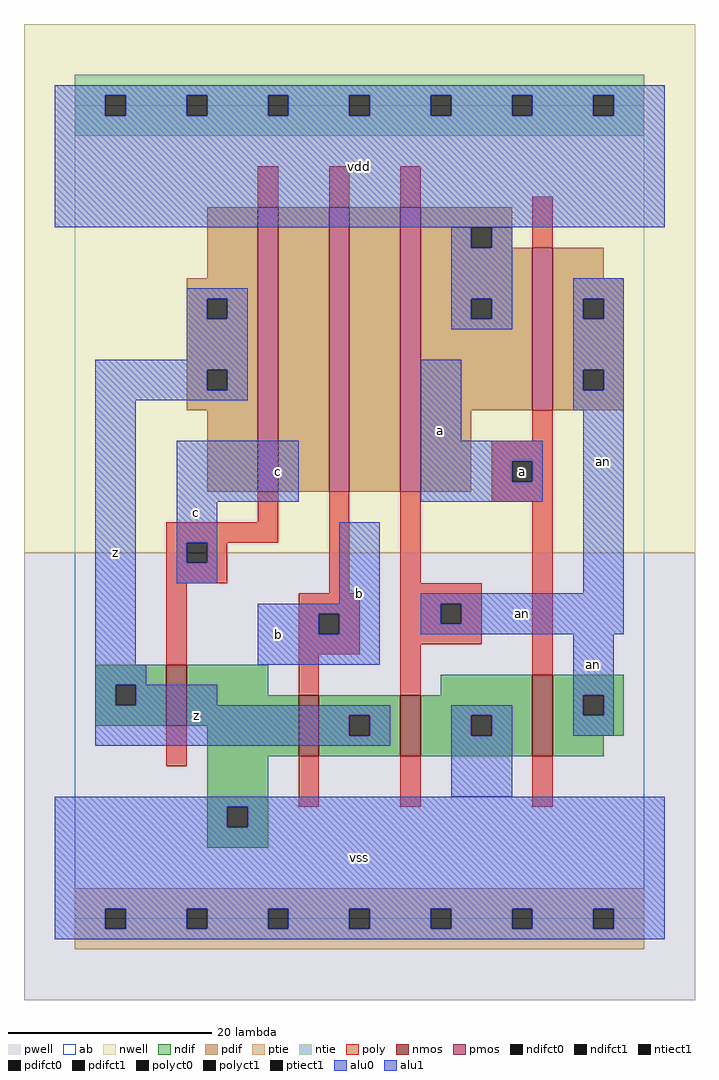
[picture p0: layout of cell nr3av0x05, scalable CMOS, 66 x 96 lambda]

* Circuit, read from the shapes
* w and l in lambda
.subckt nr3av0x05 a an b c vdd vss z
M1 vss c z vss nfet w=6 l=2
M2 z b vss vss nfet w=6 l=2
M3 vss an z vss nfet w=6 l=2
M4 an a vss vss nfet w=8 l=2
M5 n1 c z vdd pfet w=28 l=2
M6 n2 b n1 vdd pfet w=28 l=2
M7 vdd an n2 vdd pfet w=28 l=2
M8 an a vdd vdd pfet w=16 l=2
.ends

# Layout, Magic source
magic
tech scmos
<< ab >>
rect 0 0 56 80
<< nwell >>
rect -5 36 61 88
<< pwell >>
rect -5 -8 61 36
<< poly >>
rect 18 70 20 74
rect 25 70 27 74
rect 32 70 34 74
rect 45 66 47 71
rect 45 47 47 50
rect 41 45 47 47
rect 41 43 43 45
rect 45 43 47 45
rect 18 39 20 42
rect 9 37 20 39
rect 9 35 11 37
rect 13 35 15 37
rect 9 33 15 35
rect 9 25 11 33
rect 25 32 27 42
rect 32 33 34 42
rect 41 41 47 43
rect 22 30 28 32
rect 22 28 24 30
rect 26 28 28 30
rect 22 26 28 28
rect 32 31 40 33
rect 32 29 36 31
rect 38 29 40 31
rect 32 27 40 29
rect 22 22 24 26
rect 32 22 34 27
rect 45 24 47 41
rect 9 15 11 19
rect 22 11 24 16
rect 32 11 34 16
rect 45 11 47 16
<< ndif >>
rect 2 23 9 25
rect 2 21 4 23
rect 6 21 9 23
rect 2 19 9 21
rect 11 22 19 25
rect 36 22 45 24
rect 11 19 22 22
rect 13 16 22 19
rect 24 20 32 22
rect 24 18 27 20
rect 29 18 32 20
rect 24 16 32 18
rect 34 20 45 22
rect 34 18 39 20
rect 41 18 45 20
rect 34 16 45 18
rect 47 22 54 24
rect 47 20 50 22
rect 52 20 54 22
rect 47 18 54 20
rect 47 16 52 18
rect 13 11 19 16
rect 13 9 15 11
rect 17 9 19 11
rect 13 7 19 9
<< pdif >>
rect 13 63 18 70
rect 11 61 18 63
rect 11 59 13 61
rect 15 59 18 61
rect 11 54 18 59
rect 11 52 13 54
rect 15 52 18 54
rect 11 50 18 52
rect 13 42 18 50
rect 20 42 25 70
rect 27 42 32 70
rect 34 68 43 70
rect 34 66 39 68
rect 41 66 43 68
rect 34 61 45 66
rect 34 59 39 61
rect 41 59 45 61
rect 34 50 45 59
rect 47 63 52 66
rect 47 61 54 63
rect 47 59 50 61
rect 52 59 54 61
rect 47 54 54 59
rect 47 52 50 54
rect 52 52 54 54
rect 47 50 54 52
rect 34 42 39 50
<< alu1 >>
rect -2 81 58 82
rect -2 79 3 81
rect 5 79 11 81
rect 13 79 19 81
rect 21 79 27 81
rect 29 79 35 81
rect 37 79 43 81
rect 45 79 51 81
rect 53 79 58 81
rect -2 68 58 79
rect 11 61 17 62
rect 11 59 13 61
rect 15 59 17 61
rect 11 55 17 59
rect 2 54 17 55
rect 2 52 13 54
rect 15 52 17 54
rect 2 51 17 52
rect 2 25 6 51
rect 34 47 38 55
rect 10 41 22 47
rect 34 45 46 47
rect 34 43 43 45
rect 45 43 46 45
rect 34 41 46 43
rect 10 37 14 41
rect 10 35 11 37
rect 13 35 14 37
rect 10 33 14 35
rect 26 31 30 39
rect 18 30 30 31
rect 18 28 24 30
rect 26 28 30 30
rect 18 25 30 28
rect 2 23 7 25
rect 2 21 4 23
rect 6 21 14 23
rect 2 20 31 21
rect 2 18 27 20
rect 29 18 31 20
rect 2 17 31 18
rect -2 11 58 12
rect -2 9 15 11
rect 17 9 58 11
rect -2 1 58 9
rect -2 -1 3 1
rect 5 -1 11 1
rect 13 -1 19 1
rect 21 -1 27 1
rect 29 -1 35 1
rect 37 -1 43 1
rect 45 -1 51 1
rect 53 -1 58 1
rect -2 -2 58 -1
<< ptie >>
rect 0 1 56 3
rect 0 -1 3 1
rect 5 -1 11 1
rect 13 -1 19 1
rect 21 -1 27 1
rect 29 -1 35 1
rect 37 -1 43 1
rect 45 -1 51 1
rect 53 -1 56 1
rect 0 -3 56 -1
<< ntie >>
rect 0 81 56 83
rect 0 79 3 81
rect 5 79 11 81
rect 13 79 19 81
rect 21 79 27 81
rect 29 79 35 81
rect 37 79 43 81
rect 45 79 51 81
rect 53 79 56 81
rect 0 77 56 79
<< nmos >>
rect 9 19 11 25
rect 22 16 24 22
rect 32 16 34 22
rect 45 16 47 24
<< pmos >>
rect 18 42 20 70
rect 25 42 27 70
rect 32 42 34 70
rect 45 50 47 66
<< polyct0 >>
rect 36 29 38 31
<< polyct1 >>
rect 43 43 45 45
rect 11 35 13 37
rect 24 28 26 30
<< ndifct0 >>
rect 39 18 41 20
rect 50 20 52 22
<< ndifct1 >>
rect 4 21 6 23
rect 27 18 29 20
rect 15 9 17 11
<< ntiect1 >>
rect 3 79 5 81
rect 11 79 13 81
rect 19 79 21 81
rect 27 79 29 81
rect 35 79 37 81
rect 43 79 45 81
rect 51 79 53 81
<< ptiect1 >>
rect 3 -1 5 1
rect 11 -1 13 1
rect 19 -1 21 1
rect 27 -1 29 1
rect 35 -1 37 1
rect 43 -1 45 1
rect 51 -1 53 1
<< pdifct0 >>
rect 39 66 41 68
rect 39 59 41 61
rect 50 59 52 61
rect 50 52 52 54
<< pdifct1 >>
rect 13 59 15 61
rect 13 52 15 54
<< alu0 >>
rect 37 66 39 68
rect 41 66 43 68
rect 37 61 43 66
rect 37 59 39 61
rect 41 59 43 61
rect 37 58 43 59
rect 49 61 54 63
rect 49 59 50 61
rect 52 59 54 61
rect 49 54 54 59
rect 49 52 50 54
rect 52 52 54 54
rect 49 50 54 52
rect 50 32 54 50
rect 34 31 54 32
rect 34 29 36 31
rect 38 29 54 31
rect 34 28 54 29
rect 49 22 53 28
rect 37 20 43 21
rect 37 18 39 20
rect 41 18 43 20
rect 49 20 50 22
rect 52 20 53 22
rect 49 18 53 20
rect 37 12 43 18
<< labels >>
rlabel alu0 51 25 51 25 6 an
rlabel alu0 44 30 44 30 6 an
rlabel alu0 52 45 52 45 6 an
rlabel alu1 4 36 4 36 6 z
rlabel alu1 12 20 12 20 6 z
rlabel alu1 20 28 20 28 6 b
rlabel alu1 20 44 20 44 6 c
rlabel alu1 12 40 12 40 6 c
rlabel alu1 28 6 28 6 6 vss
rlabel alu1 28 32 28 32 6 b
rlabel alu1 36 48 36 48 6 a
rlabel alu1 28 74 28 74 6 vdd
rlabel polyct1 44 44 44 44 6 a
<< end >>
